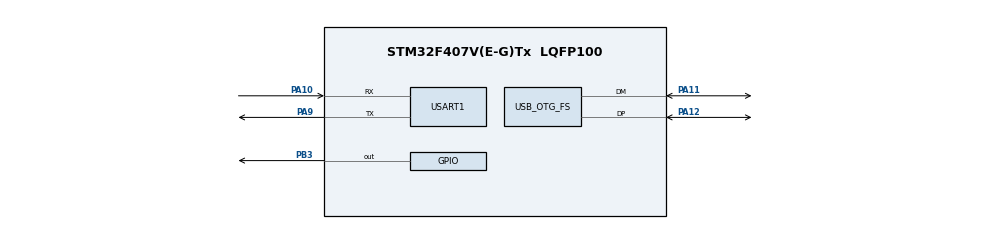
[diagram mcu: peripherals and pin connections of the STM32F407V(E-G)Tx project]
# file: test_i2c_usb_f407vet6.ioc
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Mcu.Family=STM32F4
Mcu.Name=STM32F407V(E-G)Tx
Mcu.Package=LQFP100
NVIC.OTG_FS_IRQn=true\:0\:0\:false\:false\:true\:false\:true\:true
NVIC.PriorityGroup=NVIC_PRIORITYGROUP_4
NVIC.USART1_IRQn=true\:0\:0\:false\:false\:true\:true\:true\:true
PA10.Mode=Asynchronous
PA10.Signal=USART1_RX
PA11.Mode=Device_Only
PA11.Signal=USB_OTG_FS_DM
PA12.Mode=Device_Only
PA12.Signal=USB_OTG_FS_DP
PA13.Mode=Serial_Wire
PA13.Signal=SYS_JTMS-SWDIO
PA14.Mode=Serial_Wire
PA14.Signal=SYS_JTCK-SWCLK
PA9.Mode=Asynchronous
PA9.Signal=USART1_TX
PB3.GPIO_PuPd=GPIO_NOPULL
PB3.GPIO_Speed=GPIO_SPEED_FREQ_MEDIUM
PB3.Signal=GPIO_Output
PC14-OSC32_IN.Mode=LSE-External-Oscillator
PC14-OSC32_IN.Signal=RCC_OSC32_IN
PC15-OSC32_OUT.Mode=LSE-External-Oscillator
PC15-OSC32_OUT.Signal=RCC_OSC32_OUT
PH0-OSC_IN.Mode=HSE-External-Oscillator
PH0-OSC_IN.Signal=RCC_OSC_IN
PH1-OSC_OUT.Mode=HSE-External-Oscillator
PH1-OSC_OUT.Signal=RCC_OSC_OUT
ProjectManager.HeapSize=0x400
ProjectManager.StackSize=0x800
ProjectManager.TargetToolchain=STM32CubeIDE
RCC.48MHZClocksFreq_Value=48000000
RCC.AHBCLKDivider=RCC_SYSCLK_DIV2
RCC.AHBFreq_Value=60000000
RCC.APB1CLKDivider=RCC_HCLK_DIV2
RCC.APB1Freq_Value=30000000
RCC.APB1TimFreq_Value=60000000
RCC.APB2CLKDivider=RCC_HCLK_DIV2
RCC.APB2Freq_Value=30000000
RCC.APB2TimFreq_Value=60000000
RCC.CortexFreq_Value=60000000
RCC.HCLKFreq_Value=60000000
RCC.HSE_VALUE=8000000
RCC.HSI_VALUE=16000000
RCC.PLLM=4
RCC.PLLN=120
RCC.PLLQ=5
RCC.SYSCLKFreq_VALUE=120000000
RCC.SYSCLKSource=RCC_SYSCLKSOURCE_PLLCLK
RCC.VCOOutputFreq_Value=240000000
USART1.VirtualMode=VM_ASYNC
USB_DEVICE.APP_RX_DATA_SIZE-CDC_FS=2048
USB_DEVICE.APP_TX_DATA_SIZE-CDC_FS=2048
USB_DEVICE.CLASS_NAME_FS=CDC
USB_DEVICE.VirtualMode-CDC_FS=Cdc
USB_DEVICE.VirtualModeFS=Cdc_FS
USB_OTG_FS.VirtualMode=Device_Only
VP_USB_DEVICE_VS_USB_DEVICE_CDC_FS.Mode=CDC_FS
board=custom

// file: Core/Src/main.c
/* USER CODE BEGIN Header */
/**
  ******************************************************************************
  * @file           : main.c
  * @brief          : Main program body
  ******************************************************************************
  * @attention
  *
  * Copyright (c) 2024 STMicroelectronics.
  * All rights reserved.
  *
  * This software is licensed under terms that can be found in the LICENSE file
  * in the root directory of this software component.
  * If no LICENSE file comes with this software, it is provided AS-IS.
  *
  ******************************************************************************
  */
/* USER CODE END Header */
#include "main.h"
#include "usb_device.h"

/* USER CODE BEGIN Includes */
#include "usbd_cdc_if.h"

#include <stdbool.h>

#include <string.h>
/* USER CODE END Includes */

/* USER CODE BEGIN PV */

extern uint8_t ReceivedData[100]; // Data buffer
extern i2c_t i2c_handler;
//extern uint32_t count;
/* USER CODE END PV */

void SystemClock_Config(void);
static void MX_GPIO_Init(void);
static void MX_USART1_UART_Init(void);
/* USER CODE BEGIN PFP */
static void get_slave_address(void);
static void sync_app(void);
/* USER CODE END PFP */

int main(void)
{

  /* MCU Configuration--------------------------------------------------------*/

  /* Reset of all peripherals, Initializes the Flash interface and the Systick. */
  HAL_Init();

  /* Configure the system clock */
  SystemClock_Config();

  /* Initialize all configured peripherals */
  MX_GPIO_Init();
  MX_USART1_UART_Init();
  MX_USB_DEVICE_Init();
  /* USER CODE BEGIN 2 */
  I2C_BITBANG_Init();

//  uart_printf("slave-f407vet\r\n");

//
//  uint8_t led2on[5]={0xAA,0x01,0x02,0x01,0xFF};
//  uint8_t led2off[5]={0xAA,0x01,0x02,0x00,0xFF};
//  uint8_t led1on[5]={0xAA,0x01,0x01,0x01,0xFF};
//  uint8_t led1off[5]={0xAA,0x01,0x01,0x00,0xFF};
//  uint8_t led3on[5]={0xAA,0x01,0x03,0x01,0xFF};
//  uint8_t led3off[5]={0xAA,0x01,0x03,0x00,0xFF};
//  uint8_t led1toggle[5]={0xAA,0x01,1,0x02,0xFF};
//  uint8_t data_to_matalab[10]={0xAA,0x02,0x02,0x0D,0x04,0x45,0x46,0x47,0x48,0xFF};
//  uint8_t data1_to_matalab[10]={0xAA,0x02,0x02,0x1D,0x04,0x6D,0x6E,0x6F,0x70,0xFF};
//  uint8_t data2_to_matalab[10]={0xAA,0x02,0x02,0x2D,0x04,0x7B,0x7C,0x7D,0x7E,0xFF};
//  i2c_handler.num_of_address=3;
//  i2c_handler.list_addr_slave[0] = 0x67;
//  i2c_handler.list_addr_slave[1] = 0x68;
//  i2c_handler.list_addr_slave[2] = 0x69;

//  sync_app();
  get_slave_address();

  LL_GPIO_TogglePin(GPIOB, LL_GPIO_PIN_3);//Trigger board F1

//  LL_GPIO_TogglePin(GPIOC, LL_GPIO_PIN_9); //OFF
//  i2c_handler.slave_txdata[0x10]=0x03;
//  for (int i=0x10+1;i<256;i++)
//  {
//	  i2c_handler.slave_txdata[i]=i2c_handler.slave_txdata[i-1]+1;
//  }
  //sent signal to get slave addresses
//    xTaskCreate(read_from_eeprom, "read data from eeprom", configMINIMAL_STACK_SIZE, NULL, 1, NULL);
//    vTaskStartScheduler();
  /* USER CODE END 2 */

  /* Infinite loop */
  while (1)
  {

    /* USER CODE BEGIN 3 */
//

//	  CDC_Transmit_FS(data_to_matalab, sizeof(data_to_matalab));
//	  LL_mDelay(2000);
//	  CDC_Transmit_FS(data1_to_matalab, sizeof(data1_to_matalab));
//	  LL_mDelay(2000);
//	  CDC_Transmit_FS(data2_to_matalab, sizeof(data2_to_matalab));
//	  LL_mDelay(2000);
//	  CDC_Transmit_FS(led1toggle, sizeof(led1toggle));
//	  LL_mDelay(3000);

  }
  /* USER CODE END 3 */
}

void SystemClock_Config(void)
{
  LL_FLASH_SetLatency(LL_FLASH_LATENCY_1);
  while(LL_FLASH_GetLatency()!= LL_FLASH_LATENCY_1)
  {
  }
  LL_PWR_SetRegulVoltageScaling(LL_PWR_REGU_VOLTAGE_SCALE1);
  LL_RCC_HSE_Enable();

   /* Wait till HSE is ready */
  while(LL_RCC_HSE_IsReady() != 1)
  {

  }
  LL_RCC_PLL_ConfigDomain_SYS(LL_RCC_PLLSOURCE_HSE, LL_RCC_PLLM_DIV_4, 120, LL_RCC_PLLP_DIV_2);
  LL_RCC_PLL_ConfigDomain_48M(LL_RCC_PLLSOURCE_HSE, LL_RCC_PLLM_DIV_4, 120, LL_RCC_PLLQ_DIV_5);
  LL_RCC_PLL_Enable();

   /* Wait till PLL is ready */
  while(LL_RCC_PLL_IsReady() != 1)
  {

  }
  while (LL_PWR_IsActiveFlag_VOS() == 0)
  {
  }
  LL_RCC_SetAHBPrescaler(LL_RCC_SYSCLK_DIV_2);
  LL_RCC_SetAPB1Prescaler(LL_RCC_APB1_DIV_2);
  LL_RCC_SetAPB2Prescaler(LL_RCC_APB2_DIV_2);
  LL_RCC_SetSysClkSource(LL_RCC_SYS_CLKSOURCE_PLL);

   /* Wait till System clock is ready */
  while(LL_RCC_GetSysClkSource() != LL_RCC_SYS_CLKSOURCE_STATUS_PLL)
  {

  }
  LL_SetSystemCoreClock(60000000);

   /* Update the time base */
  if (HAL_InitTick (TICK_INT_PRIORITY) != HAL_OK)
  {
    Error_Handler();
  }
}

static void MX_USART1_UART_Init(void)
{

  LL_USART_InitTypeDef USART_InitStruct = {0};

  LL_GPIO_InitTypeDef GPIO_InitStruct = {0};

  /* Peripheral clock enable */
  LL_APB2_GRP1_EnableClock(LL_APB2_GRP1_PERIPH_USART1);

  LL_AHB1_GRP1_EnableClock(LL_AHB1_GRP1_PERIPH_GPIOA);
  /**USART1 GPIO Configuration
  PA9   ------> USART1_TX
  PA10   ------> USART1_RX
  */
  GPIO_InitStruct.Pin = LL_GPIO_PIN_9|LL_GPIO_PIN_10;
  GPIO_InitStruct.Mode = LL_GPIO_MODE_ALTERNATE;
  GPIO_InitStruct.Speed = LL_GPIO_SPEED_FREQ_VERY_HIGH;
  GPIO_InitStruct.OutputType = LL_GPIO_OUTPUT_PUSHPULL;
  GPIO_InitStruct.Pull = LL_GPIO_PULL_NO;
  GPIO_InitStruct.Alternate = LL_GPIO_AF_7;
  LL_GPIO_Init(GPIOA, &GPIO_InitStruct);

  /* USART1 interrupt Init */
  NVIC_SetPriority(USART1_IRQn, NVIC_EncodePriority(NVIC_GetPriorityGrouping(),0, 0));
  NVIC_EnableIRQ(USART1_IRQn);

  USART_InitStruct.BaudRate = 115200;
  USART_InitStruct.DataWidth = LL_USART_DATAWIDTH_8B;
  USART_InitStruct.StopBits = LL_USART_STOPBITS_1;
  USART_InitStruct.Parity = LL_USART_PARITY_NONE;
  USART_InitStruct.TransferDirection = LL_USART_DIRECTION_TX_RX;
  USART_InitStruct.HardwareFlowControl = LL_USART_HWCONTROL_NONE;
  USART_InitStruct.OverSampling = LL_USART_OVERSAMPLING_16;
  LL_USART_Init(USART1, &USART_InitStruct);
  LL_USART_ConfigAsyncMode(USART1);
  LL_USART_Enable(USART1);

}

static void MX_GPIO_Init(void)
{
  LL_GPIO_InitTypeDef GPIO_InitStruct = {0};

  /* GPIO Ports Clock Enable */
  LL_AHB1_GRP1_EnableClock(LL_AHB1_GRP1_PERIPH_GPIOC);
  LL_AHB1_GRP1_EnableClock(LL_AHB1_GRP1_PERIPH_GPIOH);
  LL_AHB1_GRP1_EnableClock(LL_AHB1_GRP1_PERIPH_GPIOA);
  LL_AHB1_GRP1_EnableClock(LL_AHB1_GRP1_PERIPH_GPIOB);

  /**/
  LL_GPIO_SetOutputPin(GPIOB, LL_GPIO_PIN_3);

  /**/
  LL_GPIO_ResetOutputPin(GPIOB, LL_GPIO_PIN_5);

  /**/
  GPIO_InitStruct.Pin = LL_GPIO_PIN_3|LL_GPIO_PIN_5;
  GPIO_InitStruct.Mode = LL_GPIO_MODE_OUTPUT;
  GPIO_InitStruct.Speed = LL_GPIO_SPEED_FREQ_LOW;
  GPIO_InitStruct.OutputType = LL_GPIO_OUTPUT_PUSHPULL;
  GPIO_InitStruct.Pull = LL_GPIO_PULL_UP;
  LL_GPIO_Init(GPIOB, &GPIO_InitStruct);

}

/* USER CODE BEGIN 4 */
static void get_slave_address(void)
{
//	uint8_t signal_to_get_slave_addr[4]={0xAA,0x02,0x01,0xFF};
//	LL_mDelay(2000);
//	CDC_Transmit_FS(signal_to_get_slave_addr, sizeof(signal_to_get_slave_addr));
//	LL_mDelay(3000);
//	i2c_handler.num_of_address=ReceivedData[3];
//	for(int i=4;i<i2c_handler.num_of_address+5;i++)
//		{i2c_handler.list_addr_slave[i-4]=ReceivedData[i];}

	  i2c_handler.num_of_address=3;
	  i2c_handler.list_addr_slave[0] = 0x67;
	  i2c_handler.list_addr_slave[1] = 0x68;
	  i2c_handler.list_addr_slave[2] = 0x69;

//	LL_mDelay(3000);

}

static void sync_app(void)
{
	uint8_t dumb[2]={0xAA,0xBB};
	bool is_sync=false;
	uint8_t timeout=10;
	uint8_t count=0;
	while(!is_sync)
	{
		LL_mDelay(1000);
		if(ReceivedData[0]==0xAA && ReceivedData[1]==0xBB)
		{
			is_sync=true;
			CDC_Transmit_FS(dumb, sizeof(dumb));
			break;
		}
		if(++count > timeout)
			NVIC_SystemReset();  // Reset MCU
	}

}
/* USER CODE END 4 */

void Error_Handler(void)
{
  __disable_irq();
  while (1)
  {
  }
}
